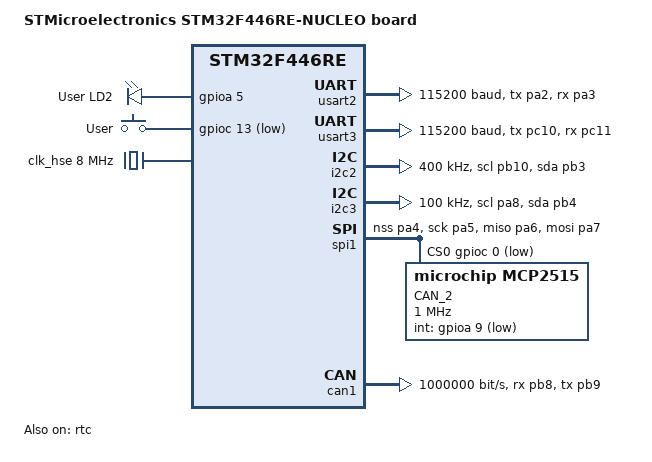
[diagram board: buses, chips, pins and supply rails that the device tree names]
/*
 * Copyright (c) 2018 Philémon Jaermann
 *
 * SPDX-License-Identifier: Apache-2.0
 */

/dts-v1/;
#include <st/f4/stm32f446Xe.dtsi>
#include <st/f4/stm32f446r(c-e)tx-pinctrl.dtsi>
#include "arduino_r3_connector.dtsi"

/ {
	model = "STMicroelectronics STM32F446RE-NUCLEO board";
	compatible = "st,stm32f446re-nucleo";

	chosen {
		zephyr,console = &usart2;
		zephyr,shell-uart = &usart2;
		zephyr,sram = &sram0;
		zephyr,flash = &flash0;
		zephyr,can-primary = &can3;
	};

	leds {
		compatible = "gpio-leds";
		green_led_2: led_2 {
			gpios = <&gpioa 5 GPIO_ACTIVE_HIGH>;
			label = "User LD2";
		};
	};

	gpio_keys {
		compatible = "gpio-keys";
		user_button: button {
			label = "User";
			gpios = <&gpioc 13 GPIO_ACTIVE_LOW>;
		};
	};

	aliases {
		led0 = &green_led_2;
		sw0 = &user_button;
	};
};

&clk_hse {
	hse-bypass;
	clock-frequency = <DT_FREQ_M(8)>; /* STLink 8MHz clock */
	status = "okay";
};

&pll {
	div-m = <8>;
	mul-n = <384>;
	div-p = <4>;
	div-q = <8>;
	clocks = <&clk_hse>;
	status = "okay";
};

&rcc {
	clocks = <&pll>;
	clock-frequency = <DT_FREQ_M(96)>;
	ahb-prescaler = <1>;
	apb1-prescaler = <2>;
	apb2-prescaler = <1>;
};

/*
&usart1 {
	pinctrl-0 = <&usart1_tx_pa9 &usart1_rx_pa10>;
	current-speed = <115200>;
	status = "okay";
};
*/

&usart2 {
	pinctrl-0 = <&usart2_tx_pa2 &usart2_rx_pa3>;
	current-speed = <115200>;
	status = "okay";
};

&usart3 {
	pinctrl-0 = <&usart3_tx_pc10 &usart3_rx_pc11>;
	current-speed = <115200>;
	status = "okay";
};

/*
&i2c1 {
	pinctrl-0 = <&i2c1_scl_pb8 &i2c1_sda_pb9>;
	status = "okay";
	clock-frequency = <I2C_BITRATE_STANDARD>;
};*/

&i2c2 {
	pinctrl-0 = <&i2c2_scl_pb10 &i2c2_sda_pb3>;
	status = "okay";
	clock-frequency = <I2C_BITRATE_FAST>;
};

&i2c3 {
	pinctrl-0 = <&i2c3_scl_pa8 &i2c3_sda_pb4>;
	status = "okay";
	clock-frequency = <I2C_BITRATE_STANDARD>;
};

&spi1 {
	pinctrl-0 = <&spi1_nss_pa4 &spi1_sck_pa5
		     &spi1_miso_pa6 &spi1_mosi_pa7>;
	status = "okay";

        cs-gpios = <&gpioc 0 GPIO_ACTIVE_LOW>;
        can3: mcp2515@0 { 
                compatible = "microchip,mcp2515";
                spi-max-frequency = <1000000>;
                int-gpios = <&gpioa 9 GPIO_ACTIVE_LOW>;
                // reset-gpios = <&gpiob 10 GPIO_ACTIVE_LOW>;
                status = "okay";
                label = "CAN_2";
                reg = <0x0>;
                osc-freq = <8000000>;
                bus-speed = <125000>;
                sjw = <1>;
                prop-seg = <2>;
                phase-seg1 = <7>;
                phase-seg2 = <6>;
                #address-cells = <1>;
                #size-cells = <0>;
        };
};

&rtc {
	status = "okay";
};

&backup_sram {
	status = "okay";
};

&can1 {
	// CAUTION: PB8 and PB9 may conflict with same pins of I2C1
	pinctrl-0 = <&can1_rx_pb8 &can1_tx_pb9>;
	bus-speed = <1000000>;
	sjw = <1>;
	prop-seg = <0>;
	phase-seg1 = <6>;
	phase-seg2 = <5>;
	status = "okay";
};

&flash0 {

	partitions {
		compatible = "fixed-partitions";
		#address-cells = <1>;
		#size-cells = <1>;

		boot_partition: partition@0 {
			label = "mcuboot";
			reg = <0x00000000 0x00010000>;
			read-only;
		};

		/*
		 * The flash starting at 0x00010000 and ending at
		 * 0x0001ffff (sectors 16-31) is reserved for use
		 * by the application.
		 */
		storage_partition: partition@10000 {
			label = "storage";
			reg = <0x00010000 0x00010000>;
		};

		slot0_partition: partition@20000 {
			label = "image-0";
			reg = <0x00020000 0x00020000>;
		};
		slot1_partition: partition@40000 {
			label = "image-1";
			reg = <0x00040000 0x00020000>;
		};
		scratch_partition: partition@60000 {
			label = "image-scratch";
			reg = <0x00060000 0x00020000>;
		};
	};
};

/*
dw1000_spi: &spi1 {
        status = "okay";
        litex_dw_spi: stm_dw1000_spi@0 { 
                compatible = "decawave,dw1000";
                status = "okay";
                reg = <0>;
                label = "dw1000_spi_if";
                int-gpios = <&gpioa 9 GPIO_ACTIVE_HIGH>;
                reset-gpios = <&gpiob 10 GPIO_ACTIVE_LOW>;
                spi-max-frequency = <8000000>;
        };
};*/
